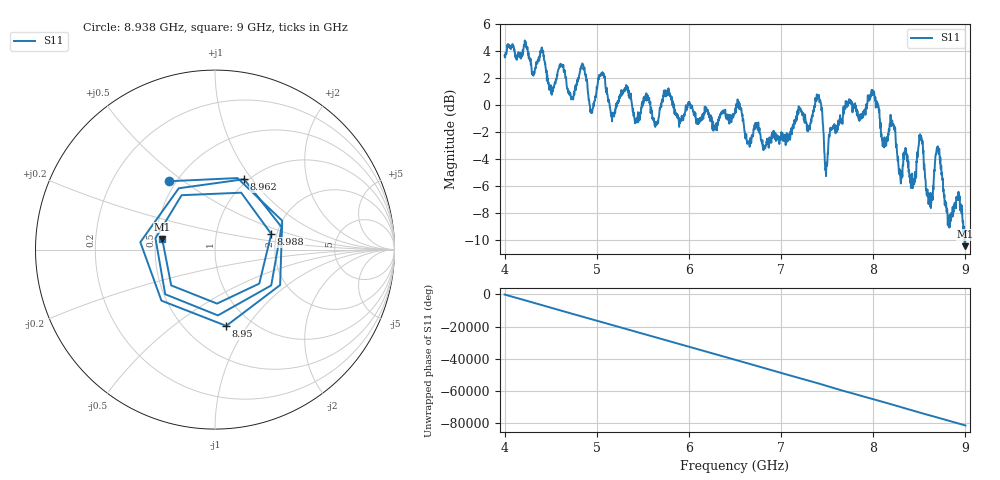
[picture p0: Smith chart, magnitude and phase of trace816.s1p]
! Created with skrf 1.8.0 (http://scikit-rf.org).
# Hz S RI R 50.0
!freq ReS11 ImS11
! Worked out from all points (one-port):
!   1601 points, 4 GHz to 9 GHz, reference 50 ohm
!   lowest |S11| = -10.4 dB at 9 GHz (marker M1), VSWR 1.86, Z = 27.1 + j3.56 ohm
!   |S11| at or under -10 dB: 8.989891 GHz to end of sweep
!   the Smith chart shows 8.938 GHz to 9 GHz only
!   S11 on the Smith chart (normalised r, x): 8.938 GHz: 0.46, +0.44; 8.95 GHz: 0.77, -0.80; 8.962 GHz: 0.96, +0.92; 8.988 GHz: 1.87, +0.36; 9 GHz: 0.54, +0.07
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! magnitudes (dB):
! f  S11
! 4 GHz  3.7
! 4.625 GHz  3.0
! 4.728 GHz  0.6
! 4.853 GHz  3.0
! 4.944 GHz  -0.6
! 5.05 GHz  2.3
! 5.169 GHz  -0.6
! 5.25 GHz  0.6
! 5.875 GHz  -0.8
! 6.5 GHz  -0.5
! 6.65 GHz  -2.7
! 7.125 GHz  -1.7
! 7.409 GHz  0.8
! 7.491 GHz  -4.4
! 7.75 GHz  0.1
! 8 GHz  1.1
! 8.112 GHz  -3.1
! 8.375 GHz  -4.2
! 8.434 GHz  -5.5
! 8.519 GHz  -2.3
! 8.619 GHz  -7.5
! 8.703 GHz  -3.4
! 8.812 GHz  -8.5
! 8.938 GHz  -6.8
! 8.95 GHz  -7.3
! 8.962 GHz  -7.4
! 8.988 GHz  -9.8
! 9 GHz  -10.4
